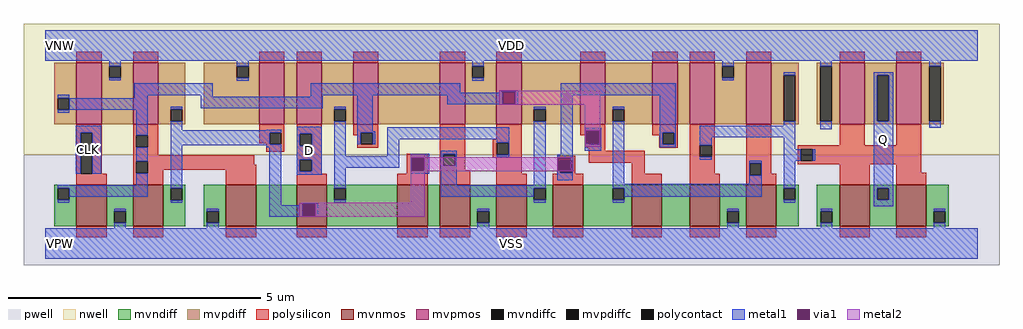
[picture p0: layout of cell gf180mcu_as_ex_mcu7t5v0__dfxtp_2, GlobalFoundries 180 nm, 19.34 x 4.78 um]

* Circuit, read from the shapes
.subckt gf180mcu_as_ex_mcu7t5v0__dfxtp_2 VDD VNW VPW VSS Q D CLK
XM1 VSS CLK n1 VPW nfet_06v0 w=0.82u l=0.6u
XM2 n2 n1 VSS VPW nfet_06v0 w=0.82u l=0.6u
XM3 n3 n1 VSS VPW nfet_06v0 w=0.82u l=0.6u
XM4 n4 D n3 VPW nfet_06v0 w=0.82u l=0.6u
XM5 n5 n2 n4 VPW nfet_06v0 w=0.82u l=0.6u
XM6 VSS n6 n5 VPW nfet_06v0 w=0.82u l=0.6u
XM7 n6 n4 VSS VPW nfet_06v0 w=0.82u l=0.6u
XM8 n7 n2 n6 VPW nfet_06v0 w=0.82u l=0.6u
XM9 n8 n1 n7 VPW nfet_06v0 w=0.82u l=0.6u
XM10 VSS n9 n8 VPW nfet_06v0 w=0.82u l=0.6u
XM11 n9 n7 VSS VPW nfet_06v0 w=0.82u l=0.6u
XM12 Q n9 VSS VPW nfet_06v0 w=0.82u l=0.6u m=2
XM13 VDD CLK n1 VNW pfet_06v0 w=1.22u l=0.5u
XM14 n2 n1 VDD VNW pfet_06v0 w=1.22u l=0.5u
XM15 n10 n2 VDD VNW pfet_06v0 w=1.22u l=0.5u
XM16 n4 D n10 VNW pfet_06v0 w=1.22u l=0.5u
XM17 n11 n1 n4 VNW pfet_06v0 w=1.22u l=0.5u
XM18 VDD n6 n11 VNW pfet_06v0 w=1.22u l=0.5u
XM19 n6 n4 VDD VNW pfet_06v0 w=1.22u l=0.5u
XM20 n7 n1 n6 VNW pfet_06v0 w=1.22u l=0.5u
XM21 n12 n2 n7 VNW pfet_06v0 w=1.22u l=0.5u
XM22 VDD n9 n12 VNW pfet_06v0 w=1.22u l=0.5u
XM23 n9 n7 VDD VNW pfet_06v0 w=1.22u l=0.5u
XM24 Q n9 VDD VNW pfet_06v0 w=1.22u l=0.5u m=2
.ends

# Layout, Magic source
magic
tech gf180mcuD
magscale 1 10
<< nwell >>
rect -86 352 3782 870
<< pwell >>
rect -86 -86 3782 352
<< mvnmos >>
rect 124 68 244 232
rect 348 68 468 232
rect 716 68 836 232
rect 996 68 1116 232
rect 1396 68 1516 232
rect 1564 68 1684 232
rect 1788 68 1908 232
rect 2012 68 2132 232
rect 2324 68 2444 232
rect 2554 68 2674 232
rect 2778 68 2898 232
rect 3148 68 3268 232
rect 3372 68 3492 232
<< mvpmos >>
rect 124 472 224 716
rect 348 472 448 716
rect 848 472 948 716
rect 996 472 1096 716
rect 1220 472 1320 716
rect 1564 472 1664 716
rect 1788 472 1888 716
rect 2120 472 2220 716
rect 2406 472 2506 716
rect 2554 472 2654 716
rect 2778 472 2878 716
rect 3148 472 3248 716
rect 3372 472 3472 716
<< mvndiff >>
rect 36 219 124 232
rect 36 173 49 219
rect 95 173 124 219
rect 36 68 124 173
rect 244 127 348 232
rect 244 81 273 127
rect 319 81 348 127
rect 244 68 348 81
rect 468 218 556 232
rect 468 172 497 218
rect 543 172 556 218
rect 468 68 556 172
rect 628 127 716 232
rect 628 81 641 127
rect 687 81 716 127
rect 628 68 716 81
rect 836 68 996 232
rect 1116 219 1396 232
rect 1116 173 1145 219
rect 1191 173 1396 219
rect 1116 68 1396 173
rect 1516 68 1564 232
rect 1684 127 1788 232
rect 1684 81 1713 127
rect 1759 81 1788 127
rect 1684 68 1788 81
rect 1908 219 2012 232
rect 1908 173 1937 219
rect 1983 173 2012 219
rect 1908 68 2012 173
rect 2132 219 2324 232
rect 2132 173 2249 219
rect 2295 173 2324 219
rect 2132 68 2324 173
rect 2444 68 2554 232
rect 2674 127 2778 232
rect 2674 81 2703 127
rect 2749 81 2778 127
rect 2674 68 2778 81
rect 2898 219 2986 232
rect 2898 173 2927 219
rect 2973 173 2986 219
rect 2898 68 2986 173
rect 3058 127 3148 232
rect 3058 81 3073 127
rect 3119 81 3148 127
rect 3058 68 3148 81
rect 3268 219 3372 232
rect 3268 173 3297 219
rect 3343 173 3372 219
rect 3268 68 3372 173
rect 3492 127 3580 232
rect 3492 81 3521 127
rect 3567 81 3580 127
rect 3492 68 3580 81
<< mvpdiff >>
rect 36 575 124 716
rect 36 529 49 575
rect 95 529 124 575
rect 36 472 124 529
rect 224 703 348 716
rect 224 657 253 703
rect 299 657 348 703
rect 224 472 348 657
rect 448 531 556 716
rect 448 485 497 531
rect 543 485 556 531
rect 448 472 556 485
rect 628 703 848 716
rect 628 656 760 703
rect 806 656 848 703
rect 628 472 848 656
rect 948 472 996 716
rect 1096 531 1220 716
rect 1096 485 1145 531
rect 1191 485 1220 531
rect 1096 472 1220 485
rect 1320 472 1564 716
rect 1664 702 1788 716
rect 1664 656 1693 702
rect 1739 656 1788 702
rect 1664 472 1788 656
rect 1888 531 2120 716
rect 1888 485 1937 531
rect 1983 485 2120 531
rect 1888 472 2120 485
rect 2220 531 2406 716
rect 2220 485 2249 531
rect 2295 485 2406 531
rect 2220 472 2406 485
rect 2506 472 2554 716
rect 2654 703 2778 716
rect 2654 657 2683 703
rect 2729 657 2778 703
rect 2654 472 2778 657
rect 2878 667 2986 716
rect 2878 485 2927 667
rect 2973 485 2986 667
rect 2878 472 2986 485
rect 3058 703 3148 716
rect 3058 485 3071 703
rect 3117 485 3148 703
rect 3058 472 3148 485
rect 3248 667 3372 716
rect 3248 485 3297 667
rect 3343 485 3372 667
rect 3248 472 3372 485
rect 3472 703 3562 716
rect 3472 485 3503 703
rect 3549 485 3562 703
rect 3472 472 3562 485
<< mvndiffc >>
rect 49 173 95 219
rect 273 81 319 127
rect 497 172 543 218
rect 641 81 687 127
rect 1145 173 1191 219
rect 1713 81 1759 127
rect 1937 173 1983 219
rect 2249 173 2295 219
rect 2703 81 2749 127
rect 2927 173 2973 219
rect 3073 81 3119 127
rect 3297 173 3343 219
rect 3521 81 3567 127
<< mvpdiffc >>
rect 49 529 95 575
rect 253 657 299 703
rect 497 485 543 531
rect 760 656 806 703
rect 1145 485 1191 531
rect 1693 656 1739 702
rect 1937 485 1983 531
rect 2249 485 2295 531
rect 2683 657 2729 703
rect 2927 485 2973 667
rect 3071 485 3117 703
rect 3297 485 3343 667
rect 3503 485 3549 703
<< polysilicon >>
rect 124 716 224 760
rect 348 716 448 760
rect 848 716 948 760
rect 996 716 1096 760
rect 1220 716 1320 760
rect 1564 716 1664 760
rect 1788 716 1888 760
rect 2120 716 2220 760
rect 2406 716 2506 760
rect 2554 716 2654 760
rect 2778 716 2878 760
rect 3148 716 3248 760
rect 3372 716 3472 760
rect 124 439 224 472
rect 124 276 141 439
rect 187 276 224 439
rect 348 428 448 472
rect 348 382 361 428
rect 407 382 448 428
rect 848 439 948 472
rect 848 397 889 439
rect 348 349 448 382
rect 876 393 889 397
rect 935 393 948 439
rect 876 364 948 393
rect 996 434 1096 472
rect 996 388 1009 434
rect 1056 388 1096 434
rect 1220 439 1320 472
rect 1220 428 1250 439
rect 348 325 829 349
rect 348 279 361 325
rect 407 311 829 325
rect 996 331 1096 388
rect 1237 392 1250 428
rect 1298 392 1320 439
rect 1237 379 1320 392
rect 407 292 836 311
rect 407 279 468 292
rect 124 232 244 276
rect 348 232 468 279
rect 716 232 836 292
rect 996 285 1009 331
rect 1056 285 1096 331
rect 996 276 1096 285
rect 1433 336 1516 356
rect 1433 289 1451 336
rect 1499 289 1516 336
rect 1433 276 1516 289
rect 996 232 1116 276
rect 1396 232 1516 276
rect 1564 354 1664 472
rect 1788 412 1888 472
rect 2120 439 2220 472
rect 2120 428 2152 439
rect 1564 307 1577 354
rect 1625 307 1664 354
rect 1774 399 1888 412
rect 1774 352 1790 399
rect 1838 352 1888 399
rect 2139 393 2152 428
rect 2198 393 2220 439
rect 2406 439 2506 472
rect 2406 428 2447 439
rect 2139 380 2220 393
rect 2434 393 2447 428
rect 2493 393 2506 439
rect 2434 380 2506 393
rect 2554 390 2654 472
rect 1774 339 1888 352
rect 2155 367 2220 380
rect 1564 289 1664 307
rect 1564 232 1684 289
rect 1788 276 1888 339
rect 2029 327 2101 348
rect 2029 281 2042 327
rect 2088 281 2101 327
rect 2155 319 2376 367
rect 2029 276 2101 281
rect 2324 276 2376 319
rect 2554 344 2595 390
rect 2641 344 2654 390
rect 2554 276 2654 344
rect 2778 317 2878 472
rect 3148 390 3248 472
rect 3372 390 3472 472
rect 1788 232 1908 276
rect 2012 232 2132 276
rect 2324 232 2444 276
rect 2554 232 2674 276
rect 2778 271 2792 317
rect 2838 277 2878 317
rect 2982 374 3472 390
rect 2982 328 2995 374
rect 3041 328 3472 374
rect 2982 313 3472 328
rect 2838 271 2898 277
rect 2778 232 2898 271
rect 3148 232 3268 313
rect 3372 280 3472 313
rect 3372 232 3492 280
rect 124 24 244 68
rect 348 24 468 68
rect 716 24 836 68
rect 996 24 1116 68
rect 1396 24 1516 68
rect 1564 24 1684 68
rect 1788 24 1908 68
rect 2012 24 2132 68
rect 2324 24 2444 68
rect 2554 24 2674 68
rect 2778 24 2898 68
rect 3148 24 3268 68
rect 3372 24 3492 68
<< polycontact >>
rect 141 276 187 439
rect 361 382 407 428
rect 889 393 935 439
rect 1009 388 1056 434
rect 361 279 407 325
rect 1250 392 1298 439
rect 1009 285 1056 331
rect 1451 289 1499 336
rect 1577 307 1625 354
rect 1790 352 1838 399
rect 2152 393 2198 439
rect 2447 393 2493 439
rect 2042 281 2088 327
rect 2595 344 2641 390
rect 2792 271 2838 317
rect 2995 328 3041 374
<< metal1 >>
rect 0 724 3696 844
rect 253 703 299 724
rect 253 646 299 657
rect 760 703 806 724
rect 760 645 806 656
rect 1693 702 1739 724
rect 1693 645 1739 656
rect 2683 703 2729 724
rect 3071 703 3117 724
rect 2683 646 2729 657
rect 2927 667 2973 678
rect 49 575 95 590
rect 353 588 665 634
rect 353 575 407 588
rect 95 529 407 575
rect 617 581 665 588
rect 1053 598 1644 634
rect 1799 604 1875 605
rect 1799 598 1811 604
rect 1053 588 1811 598
rect 1053 581 1099 588
rect 49 518 95 529
rect 122 439 222 466
rect 122 276 141 439
rect 187 276 222 439
rect 361 428 407 529
rect 361 325 407 382
rect 49 230 95 232
rect 361 230 407 279
rect 49 219 407 230
rect 95 184 407 219
rect 497 531 543 542
rect 617 535 1099 581
rect 497 449 543 485
rect 1145 531 1191 542
rect 876 449 935 450
rect 497 439 935 449
rect 497 393 889 439
rect 497 390 935 393
rect 497 218 543 390
rect 876 382 935 390
rect 49 162 95 173
rect 497 161 543 172
rect 887 152 935 382
rect 996 434 1096 463
rect 996 388 1009 434
rect 1056 388 1096 434
rect 996 331 1096 388
rect 996 285 1009 331
rect 1056 285 1096 331
rect 996 273 1096 285
rect 1145 346 1191 485
rect 1237 445 1298 588
rect 1593 552 1811 588
rect 1863 552 1875 604
rect 2044 588 2499 634
rect 1937 531 1983 542
rect 1237 439 1309 445
rect 1237 392 1250 439
rect 1298 392 1309 439
rect 1355 413 1839 460
rect 1355 346 1403 413
rect 1790 399 1839 413
rect 1145 300 1403 346
rect 1449 340 1522 356
rect 1145 219 1191 300
rect 1449 288 1451 340
rect 1503 288 1522 340
rect 1449 276 1522 288
rect 1568 354 1632 367
rect 1568 307 1577 354
rect 1625 307 1632 354
rect 1838 352 1839 399
rect 1790 341 1839 352
rect 1568 231 1632 307
rect 1937 231 1983 485
rect 2044 352 2090 588
rect 2249 531 2295 542
rect 2139 447 2203 459
rect 2139 395 2143 447
rect 2195 439 2203 447
rect 2139 393 2152 395
rect 2198 393 2203 439
rect 2139 368 2203 393
rect 2029 340 2090 352
rect 2029 288 2031 340
rect 2083 327 2090 340
rect 2029 281 2042 288
rect 2088 281 2090 327
rect 2029 251 2090 281
rect 1568 219 1983 231
rect 1568 185 1937 219
rect 1145 162 1191 173
rect 1937 162 1983 173
rect 2249 236 2295 485
rect 2436 439 2499 588
rect 2927 467 2973 485
rect 2436 393 2447 439
rect 2493 393 2499 439
rect 2436 382 2499 393
rect 2595 421 2973 467
rect 3503 703 3549 724
rect 3071 452 3117 485
rect 3284 667 3361 678
rect 3284 485 3297 667
rect 3343 485 3361 667
rect 2595 390 2641 421
rect 2595 332 2641 344
rect 2927 374 2973 421
rect 2927 328 2995 374
rect 3041 328 3052 374
rect 2791 317 2840 328
rect 2791 271 2792 317
rect 2838 271 2840 317
rect 2791 236 2840 271
rect 2249 219 2840 236
rect 2295 184 2840 219
rect 2927 219 2973 328
rect 2249 162 2295 173
rect 2927 162 2973 173
rect 3284 219 3361 485
rect 3503 458 3549 485
rect 3284 173 3297 219
rect 3343 173 3361 219
rect 1006 152 1018 160
rect 273 127 319 138
rect 273 60 319 81
rect 641 127 687 138
rect 887 108 1018 152
rect 1070 108 1082 160
rect 3284 147 3361 173
rect 887 106 1082 108
rect 1713 127 1759 138
rect 641 60 687 81
rect 1713 60 1759 81
rect 2703 127 2749 138
rect 2703 60 2749 81
rect 3073 127 3119 138
rect 3073 60 3119 81
rect 3521 127 3567 138
rect 3521 60 3567 81
rect 0 -60 3696 60
<< via1 >>
rect 1811 552 1863 604
rect 1451 336 1503 340
rect 1451 289 1499 336
rect 1499 289 1503 336
rect 1451 288 1503 289
rect 2143 439 2195 447
rect 2143 395 2152 439
rect 2152 395 2195 439
rect 2031 327 2083 340
rect 2031 288 2042 327
rect 2042 288 2083 327
rect 1018 108 1070 160
<< metal2 >>
rect 1799 605 1875 607
rect 1799 604 2199 605
rect 1799 552 1811 604
rect 1863 552 2199 604
rect 1799 549 2199 552
rect 2139 447 2199 549
rect 2139 395 2143 447
rect 2195 395 2199 447
rect 2139 383 2199 395
rect 1449 342 1505 352
rect 1449 340 2095 342
rect 1449 288 1451 340
rect 1503 288 2031 340
rect 2083 288 2095 340
rect 1449 286 2095 288
rect 1449 162 1505 286
rect 1006 160 1505 162
rect 1006 108 1018 160
rect 1070 108 1505 160
rect 1006 106 1505 108
<< labels >>
flabel metal1 s 0 724 3696 844 0 FreeSans 400 0 0 0 VDD
port 1 nsew power bidirectional abutment
flabel metal1 s 0 -60 3696 60 0 FreeSans 400 0 0 0 VSS
port 4 nsew ground bidirectional abutment
flabel nwell s 10 734 110 834 0 FreeSans 400 0 0 0 VNW
port 2 nsew power bidirectional
flabel pwell s 10 -50 110 50 0 FreeSans 400 0 0 0 VPW
port 3 nsew ground bidirectional
flabel metal1 3284 147 3361 678 0 FreeSans 400 0 0 0 Q
port 5 nsew signal output
flabel metal1 996 273 1096 463 0 FreeSans 400 0 0 0 D
port 6 nsew signal input
flabel metal1 122 276 222 466 0 FreeSans 400 0 0 0 CLK
port 7 nsew clock input
<< properties >>
string FIXED_BBOX 0 0 3696 784
string LEFclass core
string LEFsite GF018hv5v_mcu_sc7
string LEFsymmetry X Y
string MASKHINTS_NPLUS -16 -40 3712 352
string MASKHINTS_PPLUS -16 352 3712 824
<< end >>
